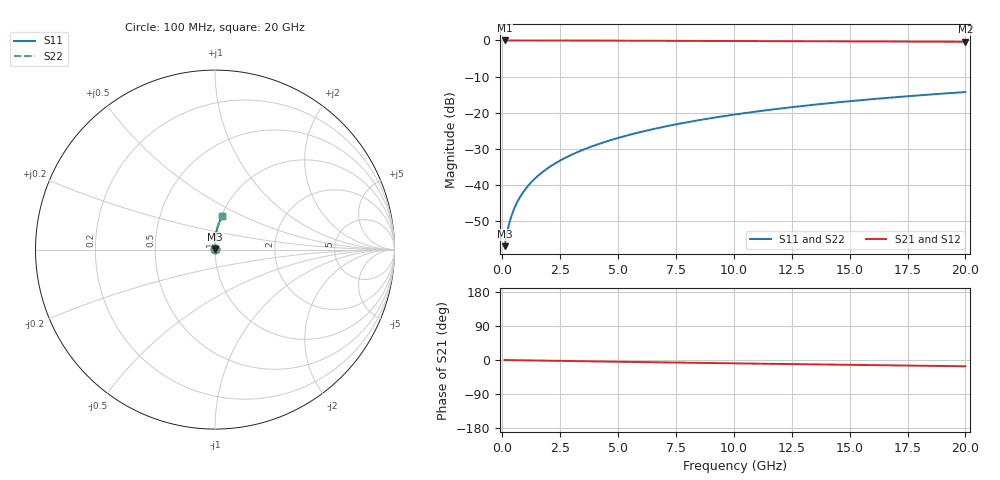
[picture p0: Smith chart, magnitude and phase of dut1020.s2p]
! Touchstone file exported from HFSS 2024.1.0
!  File:  C:/UserFiles/LocalFiles/RDL_TSV_Batchsim/temp_RDL_top_1020_1780043190.aedt
!  Generated:  04:29:06 PM May 29, 2026
!  Design:  RDL_top
!  Project:  temp_RDL_top_1020_1780043190
!  Setup:  Setup1
!  Solution:  Sweep
! Variables:
!  dtsv = 10.80580581um
!  hbump = 3um
!  htsv = 58.47um
!  ldown = 100um
!  lrdl = 192.76um
!  p = 40
!  p1 = 52.92um
!  rhole = 1um
!  t = 450um
!  tdown = 3.915915916um
!  trdl = 3.66um
!  wdown = 15.38538539um
!  wrdl = 21.27um
# GHz S MA R 50.000000
! Terminal data exported
! Port[1] = Box2_T1
! Port[2] = Box2_T2
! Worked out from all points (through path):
!   200 points, 100 MHz to 20 GHz, reference 50 ohm
!   highest |S21| = -0.01 dB at 100 MHz (marker M1); lowest = -0.4 dB at 20 GHz (marker M2)
!   group delay of S21, straight-line fit = 2.28 ps
!   lowest |S11| = -56.9 dB at 100 MHz (marker M3), VSWR 1.00, Z = 50.1 + j0.0929 ohm
!   |S11| at or under -10 dB: start of sweep to end of sweep
!   |S22| runs from -56.9 to -14.3 dB; largest |S21 - S12| = 2.3e-15
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0.1  0.001426 40.6  0.9989 -0.1  0.9989 -0.1  0.001426 40.6
! Gamma 0 0 0 0
! Port Impedance 50 0 50 0
0.2  0.002149 58.4  0.9989 -0.2  0.9989 -0.2  0.002149 58.4
0.3  0.002949 66.7  0.9988 -0.3  0.9988 -0.3  0.002949 66.7
0.4  0.003767 71.4  0.9987 -0.4  0.9987 -0.4  0.003767 71.4
0.5  0.004591 74.5  0.9987 -0.5  0.9987 -0.5  0.004591 74.5
0.6  0.005422 76.8  0.9986 -0.6  0.9986 -0.6  0.005422 76.8
0.8  0.007097 79.8  0.9985 -0.8  0.9985 -0.8  0.007097 79.8
1.1  0.009641 82.6  0.9983 -1.1  0.9983 -1.1  0.009641 82.6
1.5  0.01307 84.7  0.998 -1.4  0.998 -1.4  0.01307 84.7
1.8  0.01568 85.7  0.9977 -1.7  0.9977 -1.7  0.01568 85.7
2.1  0.0183 86.4  0.9974 -2.0  0.9974 -2.0  0.0183 86.4
2.7  0.0236 87.4  0.9966 -2.5  0.9966 -2.5  0.0236 87.4
3.5  0.03082 88.1  0.9953 -3.3  0.9953 -3.3  0.03082 88.1
4.2  0.03726 88.4  0.994 -3.9  0.994 -3.9  0.03726 88.4
5  0.04476 88.5  0.9924 -4.6  0.9924 -4.6  0.04476 88.5
5.9  0.05337 88.4  0.9905 -5.4  0.9905 -5.4  0.05338 88.4
6.8  0.06214 88.1  0.9885 -6.2  0.9885 -6.2  0.06214 88.1
8.4  0.078 87.3  0.9848 -7.5  0.9848 -7.5  0.078 87.3
10.1  0.09508 86.1  0.9809 -8.9  0.9809 -8.9  0.09508 86.1
13.4  0.1284 83.3  0.9733 -11.5  0.9733 -11.5  0.1284 83.3
16.7  0.1612 80.4  0.9657 -14.1  0.9657 -14.1  0.1612 80.4
20  0.1933 77.5  0.9577 -16.6  0.9577 -16.6  0.1933 77.5
